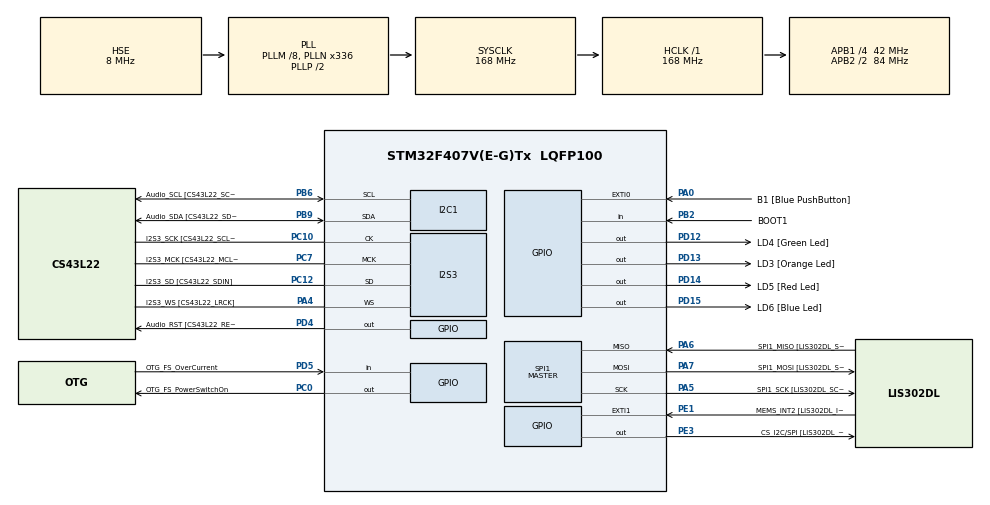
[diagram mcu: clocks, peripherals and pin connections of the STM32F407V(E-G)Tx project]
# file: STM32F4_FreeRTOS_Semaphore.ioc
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FREERTOS.BinarySemaphores01=myBinarySem01,Dynamic,NULL
FREERTOS.Tasks01=defaultTask,24,256,StartDefaultTask,Default,NULL,Dynamic,NULL,NULL;myGreenTask,24,256,StartGreenTask,Default,NULL,Dynamic,NULL,NULL;myBlueTask,24,256,StartBlueTask,Default,NULL,Dynamic,NULL,NULL
FREERTOS.configMINIMAL_STACK_SIZE=256
I2S3.AudioFreq-Half_Duplex_Master=I2S_AUDIOFREQ_96K
I2S3.ErrorAudioFreq=-2.34 %
I2S3.ErrorAudioFreq-Half_Duplex_Master=0.8 %
I2S3.FullDuplexMode=I2S_FULLDUPLEXMODE_DISABLE
I2S3.Instance=SPI$Index
I2S3.RealAudioFreq=93.75 KHz
I2S3.RealAudioFreq-Half_Duplex_Master=96.774 KHz
I2S3.VirtualMode=I2S_MODE_MASTER
Mcu.Family=STM32F4
Mcu.Name=STM32F407V(E-G)Tx
Mcu.Package=LQFP100
NVIC.PriorityGroup=NVIC_PRIORITYGROUP_4
NVIC.TIM6_DAC_IRQn=true\:15\:0\:false\:false\:true\:false\:false\:true\:true
NVIC.TimeBase=TIM6_DAC_IRQn
NVIC.TimeBaseIP=TIM6
PA0-WKUP.GPIO_Label=B1 [Blue PushButton]
PA0-WKUP.GPIO_ModeDefaultEXTI=GPIO_MODE_EVT_RISING
PA0-WKUP.GPIO_PuPd=GPIO_NOPULL
PA0-WKUP.Signal=GPXTI0
PA10.GPIO_Label=OTG_FS_ID
PA10.GPIO_Mode=GPIO_MODE_AF_PP
PA10.GPIO_PuPd=GPIO_NOPULL
PA10.GPIO_Speed=GPIO_SPEED_FREQ_LOW
PA10.Signal=USB_OTG_FS_ID
PA11.GPIO_Label=OTG_FS_DM
PA11.GPIO_Mode=GPIO_MODE_AF_PP
PA11.GPIO_PuPd=GPIO_NOPULL
PA11.GPIO_Speed=GPIO_SPEED_FREQ_LOW
PA11.Signal=USB_OTG_FS_DM
PA12.GPIO_Label=OTG_FS_DP
PA12.GPIO_Mode=GPIO_MODE_AF_PP
PA12.GPIO_PuPd=GPIO_NOPULL
PA12.GPIO_Speed=GPIO_SPEED_FREQ_LOW
PA12.Signal=USB_OTG_FS_DP
PA13.GPIO_Label=SWDIO
PA13.Mode=Serial_Wire
PA13.Signal=SYS_JTMS-SWDIO
PA14.GPIO_Label=SWCLK
PA14.Mode=Serial_Wire
PA14.Signal=SYS_JTCK-SWCLK
PA4.GPIO_Label=I2S3_WS [CS43L22_LRCK]
PA4.GPIO_Mode=GPIO_MODE_AF_PP
PA4.GPIO_PuPd=GPIO_NOPULL
PA4.GPIO_Speed=GPIO_SPEED_FREQ_LOW
PA4.Mode=Half_Duplex_Master
PA4.Signal=I2S3_WS
PA5.GPIO_Label=SPI1_SCK [LIS302DL_SCL/SPC]
PA5.GPIO_Mode=GPIO_MODE_AF_PP
PA5.GPIO_PuPd=GPIO_NOPULL
PA5.GPIO_Speed=GPIO_SPEED_FREQ_LOW
PA5.Mode=Full_Duplex_Master
PA5.Signal=SPI1_SCK
PA6.GPIO_Label=SPI1_MISO [LIS302DL_SDO]
PA6.GPIO_Mode=GPIO_MODE_AF_PP
PA6.GPIO_PuPd=GPIO_NOPULL
PA6.GPIO_Speed=GPIO_SPEED_FREQ_LOW
PA6.Mode=Full_Duplex_Master
PA6.Signal=SPI1_MISO
PA7.GPIO_Label=SPI1_MOSI [LIS302DL_SDA/SDI/SDO]
PA7.GPIO_Mode=GPIO_MODE_AF_PP
PA7.GPIO_PuPd=GPIO_NOPULL
PA7.GPIO_Speed=GPIO_SPEED_FREQ_LOW
PA7.Mode=Full_Duplex_Master
PA7.Signal=SPI1_MOSI
PA9.GPIO_Label=VBUS_FS
PA9.GPIO_Mode=GPIO_MODE_INPUT
PA9.GPIO_PuPd=GPIO_NOPULL
PA9.Signal=USB_OTG_FS_VBUS
PB10.GPIO_Label=CLK_IN [MP45DT02_CLK]
PB10.GPIO_Mode=GPIO_MODE_AF_PP
PB10.GPIO_PuPd=GPIO_NOPULL
PB10.GPIO_Speed=GPIO_SPEED_FREQ_LOW
PB10.Signal=I2S2_CK
PB2.GPIO_Label=BOOT1
PB2.GPIO_Mode=GPIO_MODE_INPUT
PB2.GPIO_PuPd=GPIO_NOPULL
PB2.Signal=GPIO_Input
PB3.GPIO_Label=SWO
PB3.Signal=SYS_JTDO-SWO
PB6.GPIO_Label=Audio_SCL [CS43L22_SCL]
PB6.GPIO_Mode=GPIO_MODE_AF_OD
PB6.GPIO_Pu=GPIO_PULLUP
PB6.GPIO_PuPd=GPIO_NOPULL
PB6.GPIO_Speed=GPIO_SPEED_FREQ_LOW
PB6.Mode=I2C
PB6.Signal=I2C1_SCL
PB9.GPIO_Label=Audio_SDA [CS43L22_SDA]
PB9.GPIO_Mode=GPIO_MODE_AF_OD
PB9.GPIO_Pu=GPIO_PULLUP
PB9.GPIO_PuPd=GPIO_NOPULL
PB9.GPIO_Speed=GPIO_SPEED_FREQ_LOW
PB9.Mode=I2C
PB9.Signal=I2C1_SDA
PC0.GPIO_Label=OTG_FS_PowerSwitchOn
PC0.GPIO_PuPd=GPIO_NOPULL
PC0.GPIO_Speed=GPIO_SPEED_FREQ_LOW
PC0.PinState=GPIO_PIN_SET
PC0.Signal=GPIO_Output
PC10.GPIO_Label=I2S3_SCK [CS43L22_SCLK]
PC10.GPIO_Mode=GPIO_MODE_AF_PP
PC10.GPIO_PuPd=GPIO_NOPULL
PC10.GPIO_Speed=GPIO_SPEED_FREQ_LOW
PC10.Mode=Half_Duplex_Master
PC10.Signal=I2S3_CK
PC12.GPIO_Label=I2S3_SD [CS43L22_SDIN]
PC12.GPIO_Mode=GPIO_MODE_AF_PP
PC12.GPIO_PuPd=GPIO_NOPULL
PC12.GPIO_Speed=GPIO_SPEED_FREQ_LOW
PC12.Mode=Half_Duplex_Master
PC12.Signal=I2S3_SD
PC14-OSC32_IN.GPIO_Label=PC14-OSC32_IN
PC14-OSC32_IN.Mode=LSE-External-Oscillator
PC14-OSC32_IN.Signal=RCC_OSC32_IN
PC15-OSC32_OUT.GPIO_Label=PC15-OSC32_OUT
PC15-OSC32_OUT.Mode=LSE-External-Oscillator
PC15-OSC32_OUT.Signal=RCC_OSC32_OUT
PC3.GPIO_Label=PDM_OUT [MP45DT02_DOUT]
PC3.GPIO_Mode=GPIO_MODE_AF_PP
PC3.GPIO_PuPd=GPIO_NOPULL
PC3.GPIO_Speed=GPIO_SPEED_FREQ_LOW
PC3.Signal=I2S2_SD
PC7.GPIO_Label=I2S3_MCK [CS43L22_MCLK]
PC7.GPIO_Mode=GPIO_MODE_AF_PP
PC7.GPIO_PuPd=GPIO_NOPULL
PC7.GPIO_Speed=GPIO_SPEED_FREQ_LOW
PC7.Mode=Master_Clock_Activated
PC7.Signal=I2S3_MCK
PD12.GPIO_Label=LD4 [Green Led]
PD12.GPIO_PuPd=GPIO_NOPULL
PD12.GPIO_Speed=GPIO_SPEED_FREQ_LOW
PD12.Signal=GPIO_Output
PD13.GPIO_Label=LD3 [Orange Led]
PD13.GPIO_PuPd=GPIO_NOPULL
PD13.GPIO_Speed=GPIO_SPEED_FREQ_LOW
PD13.Signal=GPIO_Output
PD14.GPIO_Label=LD5 [Red Led]
PD14.GPIO_PuPd=GPIO_NOPULL
PD14.GPIO_Speed=GPIO_SPEED_FREQ_LOW
PD14.Signal=GPIO_Output
PD15.GPIO_Label=LD6 [Blue Led]
PD15.GPIO_PuPd=GPIO_NOPULL
PD15.GPIO_Speed=GPIO_SPEED_FREQ_LOW
PD15.Signal=GPIO_Output
PD4.GPIO_Label=Audio_RST [CS43L22_RESET]
PD4.GPIO_PuPd=GPIO_NOPULL
PD4.GPIO_Speed=GPIO_SPEED_FREQ_LOW
PD4.Signal=GPIO_Output
PD5.GPIO_Label=OTG_FS_OverCurrent
PD5.GPIO_Mode=GPIO_MODE_INPUT
PD5.GPIO_PuPd=GPIO_NOPULL
PD5.Signal=GPIO_Input
PE1.GPIO_Label=MEMS_INT2 [LIS302DL_INT2]
PE1.GPIO_ModeDefaultEXTI=GPIO_MODE_EVT_RISING
PE1.GPIO_PuPd=GPIO_NOPULL
PE1.Signal=GPXTI1
PE3.GPIO_Label=CS_I2C/SPI [LIS302DL_CS_I2C/SPI]
PE3.GPIO_PuPd=GPIO_NOPULL
PE3.GPIO_Speed=GPIO_SPEED_FREQ_LOW
PE3.Signal=GPIO_Output
PH0-OSC_IN.GPIO_Label=PH0-OSC_IN
PH0-OSC_IN.Mode=HSE-External-Oscillator
PH0-OSC_IN.Signal=RCC_OSC_IN
PH1-OSC_OUT.GPIO_Label=PH1-OSC_OUT
PH1-OSC_OUT.Mode=HSE-External-Oscillator
PH1-OSC_OUT.Signal=RCC_OSC_OUT
ProjectManager.HeapSize=0x200
ProjectManager.StackSize=0x400
ProjectManager.TargetToolchain=STM32CubeIDE
RCC.48MHZClocksFreq_Value=48000000
RCC.AHBFreq_Value=168000000
RCC.APB1CLKDivider=RCC_HCLK_DIV4
RCC.APB1Freq_Value=42000000
RCC.APB1TimFreq_Value=84000000
RCC.APB2CLKDivider=RCC_HCLK_DIV2
RCC.APB2Freq_Value=84000000
RCC.APB2TimFreq_Value=168000000
RCC.CortexFreq_Value=168000000
RCC.HCLKFreq_Value=168000000
RCC.HSE_VALUE=8000000
RCC.HSI_VALUE=16000000
RCC.PLLM=8
RCC.PLLN=336
RCC.PLLQ=7
RCC.PLLSourceVirtual=RCC_PLLSOURCE_HSE
RCC.SYSCLKFreq_VALUE=168000000
RCC.SYSCLKSource=RCC_SYSCLKSOURCE_PLLCLK
RCC.VCOOutputFreq_Value=336000000
SPI1.BaudRatePrescaler-Full_Duplex_Master=SPI_BAUDRATEPRESCALER_2
SPI1.CalculateBaudRate-Full_Duplex_Master=42.0 MBits/s
SPI1.Direction=SPI_DIRECTION_2LINES
SPI1.Mode=SPI_MODE_MASTER
SPI1.Mode-Full_Duplex_Master=SPI_MODE_MASTER
SPI1.VirtualType=VM_MASTER
VP_FREERTOS_VS_CMSIS_V2.Mode=CMSIS_V2
VP_SYS_VS_tim6.Mode=TIM6
board=STM32F407G-DISC1

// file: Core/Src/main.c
/* USER CODE BEGIN Header */
/**
  ******************************************************************************
  * @file           : main.c
  * @brief          : Main program body
  ******************************************************************************
  * @attention
  *
  * Copyright (c) 2023 STMicroelectronics.
  * All rights reserved.
  *
  * This software is licensed under terms that can be found in the LICENSE file
  * in the root directory of this software component.
  * If no LICENSE file comes with this software, it is provided AS-IS.
  *
  ******************************************************************************
  */
/* USER CODE END Header */
#include "main.h"
#include "cmsis_os.h"

/* USER CODE BEGIN Includes */
#include "stdio.h"		//ITM printf

/* USER CODE END Includes */

I2C_HandleTypeDef hi2c1;

I2S_HandleTypeDef hi2s3;

SPI_HandleTypeDef hspi1;

/* Definitions for defaultTask */
osThreadId_t defaultTaskHandle;
const osThreadAttr_t defaultTask_attributes = {
  .name = "defaultTask",
  .stack_size = 256 * 4,
  .priority = (osPriority_t) osPriorityNormal,
};
/* Definitions for myGreenTask */
osThreadId_t myGreenTaskHandle;
const osThreadAttr_t myGreenTask_attributes = {
  .name = "myGreenTask",
  .stack_size = 256 * 4,
  .priority = (osPriority_t) osPriorityNormal,
};
/* Definitions for myBlueTask */
osThreadId_t myBlueTaskHandle;
const osThreadAttr_t myBlueTask_attributes = {
  .name = "myBlueTask",
  .stack_size = 256 * 4,
  .priority = (osPriority_t) osPriorityNormal,
};
/* Definitions for myBinarySem01 */
osSemaphoreId_t myBinarySem01Handle;
const osSemaphoreAttr_t myBinarySem01_attributes = {
  .name = "myBinarySem01"
};

void SystemClock_Config(void);
static void MX_GPIO_Init(void);
static void MX_I2C1_Init(void);
static void MX_I2S3_Init(void);
static void MX_SPI1_Init(void);
void StartDefaultTask(void *argument);
void StartGreenTask(void *argument);
void StartBlueTask(void *argument);

/* USER CODE BEGIN 0 */

//write() function implementation for the printf()
int _write(int file, char *ptr, int len)
{
  	/* Implement your write code here, this is used by puts and printf for example */
	for(int i=0 ; i<len ; i++)
		ITM_SendChar((*ptr++));
	return len;
}

/* USER CODE END 0 */

int main(void)
{

  /* MCU Configuration--------------------------------------------------------*/

  /* Reset of all peripherals, Initializes the Flash interface and the Systick. */
  HAL_Init();

  /* Configure the system clock */
  SystemClock_Config();

  /* Initialize all configured peripherals */
  MX_GPIO_Init();
  MX_I2C1_Init();
  MX_I2S3_Init();
  MX_SPI1_Init();

  /* Init scheduler */
  osKernelInitialize();

  /* Create the semaphores(s) */
  /* creation of myBinarySem01 */
  myBinarySem01Handle = osSemaphoreNew(1, 1, &myBinarySem01_attributes);

  /* USER CODE BEGIN RTOS_SEMAPHORES */
  osSemaphoreAcquire(myBinarySem01Handle, 0);

  /* add semaphores, ... */
  /* USER CODE END RTOS_SEMAPHORES */

  /* Create the thread(s) */
  /* creation of defaultTask */
  defaultTaskHandle = osThreadNew(StartDefaultTask, NULL, &defaultTask_attributes);

  /* creation of myGreenTask */
  myGreenTaskHandle = osThreadNew(StartGreenTask, NULL, &myGreenTask_attributes);

  /* creation of myBlueTask */
  myBlueTaskHandle = osThreadNew(StartBlueTask, NULL, &myBlueTask_attributes);

  /* Start scheduler */
  osKernelStart();
  /* We should never get here as control is now taken by the scheduler */
  /* Infinite loop */
  while (1)
  {

  }
}

void SystemClock_Config(void)
{
  RCC_OscInitTypeDef RCC_OscInitStruct = {0};
  RCC_ClkInitTypeDef RCC_ClkInitStruct = {0};

  /** Configure the main internal regulator output voltage
  */
  __HAL_RCC_PWR_CLK_ENABLE();
  __HAL_PWR_VOLTAGESCALING_CONFIG(PWR_REGULATOR_VOLTAGE_SCALE1);

  /** Initializes the RCC Oscillators according to the specified parameters
  * in the RCC_OscInitTypeDef structure.
  */
  RCC_OscInitStruct.OscillatorType = RCC_OSCILLATORTYPE_HSE;
  RCC_OscInitStruct.HSEState = RCC_HSE_ON;
  RCC_OscInitStruct.PLL.PLLState = RCC_PLL_ON;
  RCC_OscInitStruct.PLL.PLLSource = RCC_PLLSOURCE_HSE;
  RCC_OscInitStruct.PLL.PLLM = 8;
  RCC_OscInitStruct.PLL.PLLN = 336;
  RCC_OscInitStruct.PLL.PLLP = RCC_PLLP_DIV2;
  RCC_OscInitStruct.PLL.PLLQ = 7;
  if (HAL_RCC_OscConfig(&RCC_OscInitStruct) != HAL_OK)
  {
    Error_Handler();
  }

  /** Initializes the CPU, AHB and APB buses clocks
  */
  RCC_ClkInitStruct.ClockType = RCC_CLOCKTYPE_HCLK|RCC_CLOCKTYPE_SYSCLK
                              |RCC_CLOCKTYPE_PCLK1|RCC_CLOCKTYPE_PCLK2;
  RCC_ClkInitStruct.SYSCLKSource = RCC_SYSCLKSOURCE_PLLCLK;
  RCC_ClkInitStruct.AHBCLKDivider = RCC_SYSCLK_DIV1;
  RCC_ClkInitStruct.APB1CLKDivider = RCC_HCLK_DIV4;
  RCC_ClkInitStruct.APB2CLKDivider = RCC_HCLK_DIV2;

  if (HAL_RCC_ClockConfig(&RCC_ClkInitStruct, FLASH_LATENCY_5) != HAL_OK)
  {
    Error_Handler();
  }
}

static void MX_I2C1_Init(void)
{

  hi2c1.Instance = I2C1;
  hi2c1.Init.ClockSpeed = 100000;
  hi2c1.Init.DutyCycle = I2C_DUTYCYCLE_2;
  hi2c1.Init.OwnAddress1 = 0;
  hi2c1.Init.AddressingMode = I2C_ADDRESSINGMODE_7BIT;
  hi2c1.Init.DualAddressMode = I2C_DUALADDRESS_DISABLE;
  hi2c1.Init.OwnAddress2 = 0;
  hi2c1.Init.GeneralCallMode = I2C_GENERALCALL_DISABLE;
  hi2c1.Init.NoStretchMode = I2C_NOSTRETCH_DISABLE;
  if (HAL_I2C_Init(&hi2c1) != HAL_OK)
  {
    Error_Handler();
  }

}

static void MX_I2S3_Init(void)
{

  hi2s3.Instance = SPI3;
  hi2s3.Init.Mode = I2S_MODE_MASTER_TX;
  hi2s3.Init.Standard = I2S_STANDARD_PHILIPS;
  hi2s3.Init.DataFormat = I2S_DATAFORMAT_16B;
  hi2s3.Init.MCLKOutput = I2S_MCLKOUTPUT_ENABLE;
  hi2s3.Init.AudioFreq = I2S_AUDIOFREQ_96K;
  hi2s3.Init.CPOL = I2S_CPOL_LOW;
  hi2s3.Init.ClockSource = I2S_CLOCK_PLL;
  hi2s3.Init.FullDuplexMode = I2S_FULLDUPLEXMODE_DISABLE;
  if (HAL_I2S_Init(&hi2s3) != HAL_OK)
  {
    Error_Handler();
  }

}

static void MX_SPI1_Init(void)
{

  /* SPI1 parameter configuration*/
  hspi1.Instance = SPI1;
  hspi1.Init.Mode = SPI_MODE_MASTER;
  hspi1.Init.Direction = SPI_DIRECTION_2LINES;
  hspi1.Init.DataSize = SPI_DATASIZE_8BIT;
  hspi1.Init.CLKPolarity = SPI_POLARITY_LOW;
  hspi1.Init.CLKPhase = SPI_PHASE_1EDGE;
  hspi1.Init.NSS = SPI_NSS_SOFT;
  hspi1.Init.BaudRatePrescaler = SPI_BAUDRATEPRESCALER_2;
  hspi1.Init.FirstBit = SPI_FIRSTBIT_MSB;
  hspi1.Init.TIMode = SPI_TIMODE_DISABLE;
  hspi1.Init.CRCCalculation = SPI_CRCCALCULATION_DISABLE;
  hspi1.Init.CRCPolynomial = 10;
  if (HAL_SPI_Init(&hspi1) != HAL_OK)
  {
    Error_Handler();
  }

}

static void MX_GPIO_Init(void)
{
  GPIO_InitTypeDef GPIO_InitStruct = {0};

  /* GPIO Ports Clock Enable */
  __HAL_RCC_GPIOE_CLK_ENABLE();
  __HAL_RCC_GPIOC_CLK_ENABLE();
  __HAL_RCC_GPIOH_CLK_ENABLE();
  __HAL_RCC_GPIOA_CLK_ENABLE();
  __HAL_RCC_GPIOB_CLK_ENABLE();
  __HAL_RCC_GPIOD_CLK_ENABLE();

  /*Configure GPIO pin Output Level */
  HAL_GPIO_WritePin(CS_I2C_SPI_GPIO_Port, CS_I2C_SPI_Pin, GPIO_PIN_RESET);

  /*Configure GPIO pin Output Level */
  HAL_GPIO_WritePin(OTG_FS_PowerSwitchOn_GPIO_Port, OTG_FS_PowerSwitchOn_Pin, GPIO_PIN_SET);

  /*Configure GPIO pin Output Level */
  HAL_GPIO_WritePin(GPIOD, LD4_Pin|LD3_Pin|LD5_Pin|LD6_Pin
                          |Audio_RST_Pin, GPIO_PIN_RESET);

  /*Configure GPIO pin : CS_I2C_SPI_Pin */
  GPIO_InitStruct.Pin = CS_I2C_SPI_Pin;
  GPIO_InitStruct.Mode = GPIO_MODE_OUTPUT_PP;
  GPIO_InitStruct.Pull = GPIO_NOPULL;
  GPIO_InitStruct.Speed = GPIO_SPEED_FREQ_LOW;
  HAL_GPIO_Init(CS_I2C_SPI_GPIO_Port, &GPIO_InitStruct);

  /*Configure GPIO pin : OTG_FS_PowerSwitchOn_Pin */
  GPIO_InitStruct.Pin = OTG_FS_PowerSwitchOn_Pin;
  GPIO_InitStruct.Mode = GPIO_MODE_OUTPUT_PP;
  GPIO_InitStruct.Pull = GPIO_NOPULL;
  GPIO_InitStruct.Speed = GPIO_SPEED_FREQ_LOW;
  HAL_GPIO_Init(OTG_FS_PowerSwitchOn_GPIO_Port, &GPIO_InitStruct);

  /*Configure GPIO pin : PDM_OUT_Pin */
  GPIO_InitStruct.Pin = PDM_OUT_Pin;
  GPIO_InitStruct.Mode = GPIO_MODE_AF_PP;
  GPIO_InitStruct.Pull = GPIO_NOPULL;
  GPIO_InitStruct.Speed = GPIO_SPEED_FREQ_LOW;
  GPIO_InitStruct.Alternate = GPIO_AF5_SPI2;
  HAL_GPIO_Init(PDM_OUT_GPIO_Port, &GPIO_InitStruct);

  /*Configure GPIO pin : B1_Pin */
  GPIO_InitStruct.Pin = B1_Pin;
  GPIO_InitStruct.Mode = GPIO_MODE_EVT_RISING;
  GPIO_InitStruct.Pull = GPIO_NOPULL;
  HAL_GPIO_Init(B1_GPIO_Port, &GPIO_InitStruct);

  /*Configure GPIO pin : BOOT1_Pin */
  GPIO_InitStruct.Pin = BOOT1_Pin;
  GPIO_InitStruct.Mode = GPIO_MODE_INPUT;
  GPIO_InitStruct.Pull = GPIO_NOPULL;
  HAL_GPIO_Init(BOOT1_GPIO_Port, &GPIO_InitStruct);

  /*Configure GPIO pin : CLK_IN_Pin */
  GPIO_InitStruct.Pin = CLK_IN_Pin;
  GPIO_InitStruct.Mode = GPIO_MODE_AF_PP;
  GPIO_InitStruct.Pull = GPIO_NOPULL;
  GPIO_InitStruct.Speed = GPIO_SPEED_FREQ_LOW;
  GPIO_InitStruct.Alternate = GPIO_AF5_SPI2;
  HAL_GPIO_Init(CLK_IN_GPIO_Port, &GPIO_InitStruct);

  /*Configure GPIO pins : LD4_Pin LD3_Pin LD5_Pin LD6_Pin
                           Audio_RST_Pin */
  GPIO_InitStruct.Pin = LD4_Pin|LD3_Pin|LD5_Pin|LD6_Pin
                          |Audio_RST_Pin;
  GPIO_InitStruct.Mode = GPIO_MODE_OUTPUT_PP;
  GPIO_InitStruct.Pull = GPIO_NOPULL;
  GPIO_InitStruct.Speed = GPIO_SPEED_FREQ_LOW;
  HAL_GPIO_Init(GPIOD, &GPIO_InitStruct);

  /*Configure GPIO pin : VBUS_FS_Pin */
  GPIO_InitStruct.Pin = VBUS_FS_Pin;
  GPIO_InitStruct.Mode = GPIO_MODE_INPUT;
  GPIO_InitStruct.Pull = GPIO_NOPULL;
  HAL_GPIO_Init(VBUS_FS_GPIO_Port, &GPIO_InitStruct);

  /*Configure GPIO pins : OTG_FS_ID_Pin OTG_FS_DM_Pin OTG_FS_DP_Pin */
  GPIO_InitStruct.Pin = OTG_FS_ID_Pin|OTG_FS_DM_Pin|OTG_FS_DP_Pin;
  GPIO_InitStruct.Mode = GPIO_MODE_AF_PP;
  GPIO_InitStruct.Pull = GPIO_NOPULL;
  GPIO_InitStruct.Speed = GPIO_SPEED_FREQ_LOW;
  GPIO_InitStruct.Alternate = GPIO_AF10_OTG_FS;
  HAL_GPIO_Init(GPIOA, &GPIO_InitStruct);

  /*Configure GPIO pin : OTG_FS_OverCurrent_Pin */
  GPIO_InitStruct.Pin = OTG_FS_OverCurrent_Pin;
  GPIO_InitStruct.Mode = GPIO_MODE_INPUT;
  GPIO_InitStruct.Pull = GPIO_NOPULL;
  HAL_GPIO_Init(OTG_FS_OverCurrent_GPIO_Port, &GPIO_InitStruct);

  /*Configure GPIO pin : MEMS_INT2_Pin */
  GPIO_InitStruct.Pin = MEMS_INT2_Pin;
  GPIO_InitStruct.Mode = GPIO_MODE_EVT_RISING;
  GPIO_InitStruct.Pull = GPIO_NOPULL;
  HAL_GPIO_Init(MEMS_INT2_GPIO_Port, &GPIO_InitStruct);

}

void StartDefaultTask(void *argument)
{
  /* USER CODE BEGIN 5 */
  /* Infinite loop */
  for(;;)
  {
	  osDelay(1000);
  }
  /* USER CODE END 5 */
}

void StartGreenTask(void *argument)
{
  /* USER CODE BEGIN StartGreenTask */
		uint8_t RunCount = 0;
		osStatus_t status;
  /* Infinite loop */
  for(;;)
  {
	  printf("GreenTask running\n");

	  RunCount++;
	  if(RunCount >= 5)
	  {
		  RunCount = 0;
		  printf("GreenTask releases Semaphore\n");
		  status = osSemaphoreRelease(myBinarySem01Handle);
	  }

	  HAL_GPIO_TogglePin(LD4_GPIO_Port, LD4_Pin);
	  osDelay(1000);
  }
  /* USER CODE END StartGreenTask */
}

void StartBlueTask(void *argument)
{
  /* USER CODE BEGIN StartBlueTask */
  /* Infinite loop */
  for(;;)
  {
	  if(osSemaphoreAcquire(myBinarySem01Handle, osWaitForever) == osOK)
	  {
		  printf("BlueTask asquire Semaphore\n");
		  for(uint8_t i = 0; i<3; i++)
		  {
			  HAL_GPIO_WritePin(LD6_GPIO_Port, LD6_Pin, GPIO_PIN_SET);
			  osDelay(100);
			  HAL_GPIO_WritePin(LD6_GPIO_Port, LD6_Pin, GPIO_PIN_RESET);
			  osDelay(100);
	  }
	  } else
	  {
		  //Error handle code
	  }
  }
  /* USER CODE END StartBlueTask */
}

void HAL_TIM_PeriodElapsedCallback(TIM_HandleTypeDef *htim)
{
  if (htim->Instance == TIM6) {
    HAL_IncTick();
  }
}

void Error_Handler(void)
{
  __disable_irq();
  while (1)
  {
  }
}
